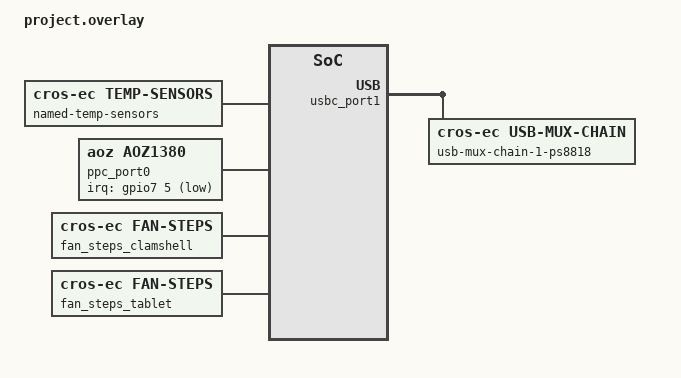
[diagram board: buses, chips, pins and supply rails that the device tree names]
/* Copyright 2022 The ChromiumOS Authors
 * Use of this source code is governed by a BSD-style license that can be
 * found in the LICENSE file.
 */

/* Skyrim program common DTS includes */
#include "../adc.dtsi"
#include "../fan.dtsi"
#include "../gpio.dtsi"
#include "../i2c.dtsi"
#include "../interrupts.dtsi"
#include "../keyboard.dtsi"
#include "../usbc.dtsi"

/* Frostflow project DTS includes*/
#include "led_pins.dtsi"
#include "led_policy.dtsi"
#include "motionsense.dtsi"

/* Frostflow overrides follow... */
/ {
	/* battery overrides */
	batteries {
		default_battery: cdt_c340152 {
			compatible = "cdt,c340152", "battery-smart";
		};
	};

	named-gpios {
		/* Frostflow-specific GPIO customizations */
	};

	gpio-interrupts {
		int_lid_accel: lid_accel {
			irq-pin = <&gpio_lid_accel_int_l>;
			flags = <GPIO_INT_EDGE_FALLING>;
			handler = "bma4xx_interrupt";
		};
	};

	named-temp-sensors {
		compatible = "cros-ec,temp-sensors";
		temp_soc: soc-pct2075 {
			temp-host-high = <75>;
			temp-host-halt = <80>;
			temp-host-release-high = <65>;
			temp-host-release-halt = <70>;
			power-good-pin = <&gpio_pg_pwr_s5>;
			sensor = <&soc_pct2075>;
		};
		temp_amb: amb-pct2075 {
			temp-host-high = <65>;
			temp-host-halt = <70>;
			temp-host-release-high = <55>;
			temp-host-release-halt = <60>;
			temp-fan-off = <32>;
			temp-fan-max = <45>;
			power-good-pin = <&gpio_pg_pwr_s5>;
			sensor = <&amb_pct2075>;
		};
	};

	/* Rotation matrices for motion sensors. */
	motionsense-rotation-ref {
		compatible = "cros-ec,motionsense-rotation-ref";
		lid_rot_ref: lid-rotation-ref {
			mat33 = <1 0 0
				 0 1 0
				 0 0 1>;
		};

		base_rot_ref: base-rotation-ref {
			mat33 = <0 1 0
				 1 0 0
				 0 0 (-1)>;
		};
	};

	ppc_port0: aoz1380 {
		compatible = "aoz,aoz1380";
		status = "okay";
		/* a duplicate of the <&gpio_usb_c0_ppc_int_odl> node in
		 * "named-gpios". This is the Zephyr preferred style,
		 * the "named-gpios" node will be dealt with at a later date.
		 */
		irq-gpios = <&gpio7 5 GPIO_ACTIVE_LOW>;
	};

	fan_steps_clamshell: fan-steps-clamshell {
		compatible = "cros-ec,fan-steps";
		level_0 {
			temp-on = <(-1) 37 (-1) (-1) (-1)>;
			temp-off = <(-1) 99 (-1) (-1) (-1)>;
			rpm-target = <0>;
		};
		level_1 {
			temp-on = <(-1) 38 (-1) (-1) (-1)>;
			temp-off = <(-1) 33 (-1) (-1) (-1)>;
			rpm-target = <2600>;
		};
		level_2 {
			temp-on = <(-1) 42 (-1) (-1) (-1)>;
			temp-off = <(-1) 37 (-1) (-1) (-1)>;
			rpm-target = <2900>;
		};
		level_3 {
			temp-on = <(-1) 48 (-1) (-1) (-1)>;
			temp-off = <(-1) 41 (-1) (-1) (-1)>;
			rpm-target = <3200>;
		};
		level_4 {
			temp-on = <(-1) 49 (-1) (-1) (-1)>;
			temp-off = <(-1) 45 (-1) (-1) (-1)>;
			rpm-target = <3500>;
		};
		level_5 {
			temp-on = <(-1) 50 (-1) (-1) (-1)>;
			temp-off = <(-1) 46 (-1) (-1) (-1)>;
			rpm-target = <3700>;
		};
		level_6 {
			temp-on = <(-1) 51 (-1) (-1) (-1)>;
			temp-off = <(-1) 47 (-1) (-1) (-1)>;
			rpm-target = <4200>;
		};
		level_7 {
			temp-on = <(-1) 62 (-1) (-1) (-1)>;
			temp-off = <(-1) 55 (-1) (-1) (-1)>;
			rpm-target = <4600>;
		};
	};

	fan_steps_tablet: fan-steps-tablet {
		compatible = "cros-ec,fan-steps";
		level_0 {
			temp-on = <(-1) 38 (-1) (-1) (-1)>;
			temp-off = <(-1) 99 (-1) (-1) (-1)>;
			rpm-target = <0>;
		};
		level_1 {
			temp-on = <(-1) 39 (-1) (-1) (-1)>;
			temp-off = <(-1) 37 (-1) (-1) (-1)>;
			rpm-target = <2600>;
		};
		level_2 {
			temp-on = <(-1) 45 (-1) (-1) (-1)>;
			temp-off = <(-1) 38 (-1) (-1) (-1)>;
			rpm-target = <2900>;
		};
		level_3 {
			temp-on = <(-1) 54 (-1) (-1) (-1)>;
			temp-off = <(-1) 44 (-1) (-1) (-1)>;
			rpm-target = <3200>;
		};
		level_4 {
			temp-on = <(-1) 55 (-1) (-1) (-1)>;
			temp-off = <(-1) 51 (-1) (-1) (-1)>;
			rpm-target = <3500>;
		};
		level_5 {
			temp-on = <(-1) 56 (-1) (-1) (-1)>;
			temp-off = <(-1) 52 (-1) (-1) (-1)>;
			rpm-target = <3700>;
		};
		level_6 {
			temp-on = <(-1) 57 (-1) (-1) (-1)>;
			temp-off = <(-1) 53 (-1) (-1) (-1)>;
			rpm-target = <4200>;
		};
		level_7 {
			temp-on = <(-1) 61 (-1) (-1) (-1)>;
			temp-off = <(-1) 56 (-1) (-1) (-1)>;
			rpm-target = <4600>;
		};
	};

	/*
	 * Note this is expected to vary per-board, so we keep it in the board
	 * dts files.
	 */
	Frostflow-fw-config {
		compatible = "cros-ec,cbi-fw-config";

		/*
		* FW_CONFIG field to enable fingerprint or not.
		*/
		fingerprint {
			enum-name = "FW_FINGERPRINT";
			start = <0>;
			size = <1>;

			fingerprint-absent{
				compatible = "cros-ec,cbi-fw-config-value";
				enum-name = "FW_FINGERPRINT_ABSENT";
				value = <0>;
			};
			fingerprint-present {
				compatible = "cros-ec,cbi-fw-config-value";
				enum-name = "FW_FINGERPRINT_PRESENT";
				value = <1>;
			};
		};
		/*
		* FW_CONFIG field to enable stylus or not.
		*/
		stylus {
			enum-name = "FW_STYLUS";
			start = <1>;
			size = <1>;

			stylus-absent {
				compatible = "cros-ec,cbi-fw-config-value";
				enum-name = "FW_STYLUS_ABSENT";
				value = <0>;
			};
			stylus-present {
				compatible = "cros-ec,cbi-fw-config-value";
				enum-name = "FW_STYLUS_PRESENT";
				value = <1>;
			};
		};
	};

	cros-keyscan {
		compatible = "cros-ec,keyscan";
		actual-key-mask = <
			0x1c /* C0 */
			0xff /* C1 */
			0xff /* C2 */
			0xff /* C3 */
			0xff /* C4 */
			0xff /* C5 */
			0xff /* C6 */
			0x86 /* C7 */
			0xff /* C8 */
			0xff /* C9 */
			0x55 /* C10 */
			0xff /* C11 */
			0xff /* C12 */
			0xff /* C13 */
			0xff /* C13 */
		>;
	};
};

/* i2c overrides */
&i2c0_0 {
	/delete-node/ nx20p348x@71;
	/delete-node/ anx7483@3e;
};

&i2c1_0 {
	/delete-node/ anx7483@3e;
};

&i2c4_1 {
	/delete-node/ isl9538@9;
};

&amd_fp6_port0 {
	board-set = "board_c0_amd_fp6_mux_set";
};

/* usbc overrides */
&usbc_port0 {
	/delete-property/ chg_alt;
	usb-mux-chain-0 {
		usb-muxes = <&amd_fp6_port0>;
	};
};

&usbc_port1 {
	/delete-node/ usb-mux-chain-1-anx;
	/delete-node/ usb-mux-chain-1-ps;
	usb-mux-chain-1-ps8818 {
		compatible = "cros-ec,usb-mux-chain";
		usb-muxes = <&amd_fp6_port1 &ps8818_port1>;
	};
};

&cros_kb_raw {
	pinctrl-0 = <
		&ksi0_gp31
		&ksi1_gp30
		&ksi2_gp27
		&ksi3_gp26
		&ksi4_gp25
		&ksi5_gp24
		&ksi6_gp23
		&ksi7_gp22
		&kso00_gp21
		&kso01_gp20
		&kso03_gp16
		&kso04_gp15
		&kso05_gp14
		&kso06_gp13
		&kso07_gp12
		&kso08_gp11
		&kso09_gp10
		&kso10_gp07
		&kso11_gp06
		&kso12_gp05
		&kso13_gp04
		&kso14_gp82
	>;

	scancode-set2 {
		compatible = "cros-ec,scancode-set2";

		default {
			col0-codes  = <0x0000 0x0000 0x0014 0xe01f 0xe014 0x0000 0x0000 0x0000>;
			col1-codes  = <0x001f 0x0076 0x0017 0x000e 0x001c 0x003a 0x000d 0x0016>;
			col2-codes  = <0x006c 0xe024 0xe01d 0xe020 0xe038 0xe071 0x0026 0x002a>;
			col3-codes  = <0x0032 0x0034 0x002c 0x002e 0x002b 0x0029 0x0025 0x002d>;
			col4-codes  = <0x0078 0xe032 0xe035 0xe02c 0xe02d 0x0041 0x001e 0x001d>;
			col5-codes  = <0x0051 0x0007 0x005b 0x000f 0x0042 0x0022 0x003e 0x0043>;
			col6-codes  = <0x0031 0x0033 0x0035 0x0036 0x003b 0x001b 0x003d 0x003c>;
			col7-codes  = <0x0000 0x0012 0x0061 0x0000 0x0000 0x0000 0x0000 0x0059>;
			col8-codes  = <0x0055 0x0052 0x0054 0x004e 0x004c 0x0024 0x0044 0x004d>;
			col9-codes  = <0x0045 0xe021 0xe023 0x002f 0x004b 0x0049 0x0046 0x001a>;
			col10-codes = <0xe011 0x0000 0x006a 0x0000 0x005d 0x0000 0x0011 0x0000>;
			col11-codes = <0xe07a 0x005d 0xe075 0x006b 0x005a 0xe072 0x004a 0x0066>;
			col12-codes = <0xe06b 0xe074 0xe069 0x0067 0xe06c 0x0064 0x0015 0xe07d>;
			col13-codes = <0x0073 0x007c 0x007b 0x0074 0x0071 0xe04a 0x0070 0x0021>;
			col14-codes = <0x0023 0xe05a 0x0075 0x0079 0x007a 0x0072 0x007d 0x0069>;
		};
	};
};

/* temperature sensor overrides */
&temp_sensor_charger {
	temp-host-high = <75>;
	temp-host-halt = <80>;
	temp-host-release-high = <65>;
	temp-host-release-halt = <70>;
};

&temp_sensor_memory {
	temp-host-high = <75>;
	temp-host-halt = <80>;
	temp-host-release-high = <65>;
	temp-host-release-halt = <70>;
};

&temp_sensor_cpu {
	/delete-property/ temp-host-high;
	/delete-property/ temp-host-halt;
	/delete-property/ temp-host-release-high;
	/delete-property/ temp-fan-off;
	/delete-property/ temp-fan-max;
};

/* fan overrides */
&fan0 {
	pwms = <&pwm0 0 PWM_KHZ(25) PWM_POLARITY_NORMAL>;
	rpm-min = <2400>;
	rpm-start = <2600>;
	rpm-max = <4600>;
	rpm-deviation = <2>;
};

&vivaldi_kbd {
	vivaldi-keys = <
		KBD_RC(4, 2)   /* T1 */
		KBD_RC(3, 2)   /* T2 */
		KBD_RC(2, 2)   /* T3 */
		KBD_RC(1, 2)   /* T4 */
		KBD_RC(4, 4)   /* T5 */
		KBD_RC(3, 4)   /* T6 */
		KBD_RC(2, 4)   /* T7 */
		KBD_RC(2, 9)   /* T8 */
		KBD_RC(1, 9)   /* T9 */
		KBD_RC(1, 4)   /* T10 */
		KBD_RC(0, 4)   /* T11 */
		KBD_RC(1, 5)   /* T12 */
		KBD_RC(3, 5)   /* T13 */
		KBD_RC(2, 1)   /* T14 */
		KBD_RC(0, 1)   /* T15 */
	>;
};
